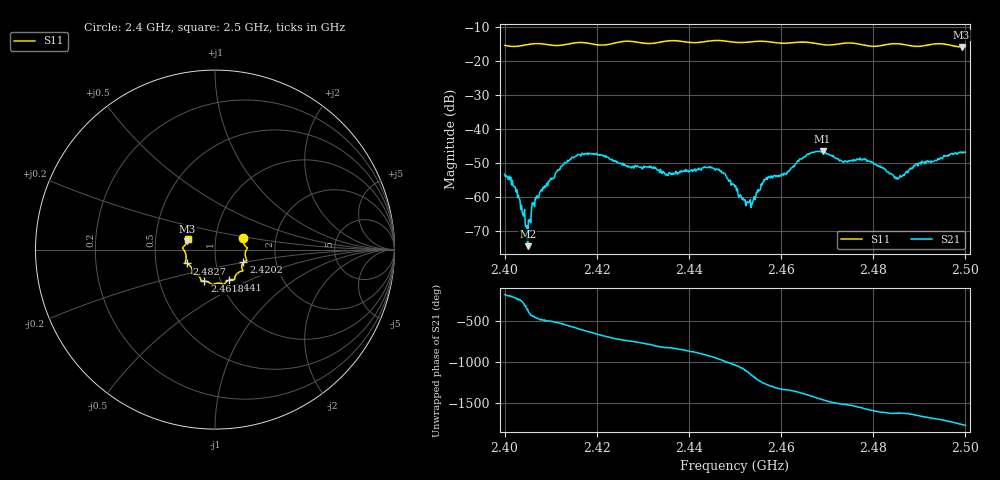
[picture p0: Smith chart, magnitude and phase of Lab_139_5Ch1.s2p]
# Hz S RI R 50
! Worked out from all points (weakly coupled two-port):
!   601 points, 2.4 GHz to 2.5 GHz, reference 50 ohm
!   highest |S21| = -46.49 dB at 2.469 GHz (marker M1); lowest = -74.6 dB at 2.405 GHz (marker M2)
!   lowest |S11| = -15.8 dB at 2.4992 GHz (marker M3), VSWR 1.39, Z = 36.5 + j3.66 ohm
!   |S11| at or under -10 dB: start of sweep to end of sweep
!   S12 and S22 are empty: the file has one direction only
!   S11 on the Smith chart (normalised r, x): 2.4 GHz: 1.36, +0.18; 2.4202 GHz: 1.36, -0.20; 2.441 GHz: 1.10, -0.39; 2.4618 GHz: 0.84, -0.30; 2.4827 GHz: 0.72, -0.11; 2.5 GHz: 0.73, +0.09
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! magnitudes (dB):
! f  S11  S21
! 2.4 GHz  -15.4  -53.4
! 2.4022 GHz  -15.7  -57.0
! 2.405 GHz  -15.1  -74.6
! 2.4065 GHz  -14.9  -62.9
! 2.4082 GHz  -14.9  -58.3
! 2.4127 GHz  -15.3  -50.5
! 2.4167 GHz  -14.5  -47.7
! 2.4202 GHz  -15.2  -47.8
! 2.4333 GHz  -14.5  -52.1
! 2.441 GHz  -14.6  -52.3
! 2.4465 GHz  -13.9  -51.9
! 2.45 GHz  -14.5  -57.0
! 2.4533 GHz  -14.4  -60.9
! 2.4568 GHz  -14.2  -54.4
! 2.4618 GHz  -14.7  -52.2
! 2.4667 GHz  -14.6  -47.0
! 2.469 GHz  -15.2  -46.5
! 2.4827 GHz  -15.2  -51.9
! 2.4833 GHz  -15.0  -52.8
! 2.4855 GHz  -14.9  -54.5
! 2.4992 GHz  -15.8  -47.0
! 2.5 GHz  -15.7  -46.9
